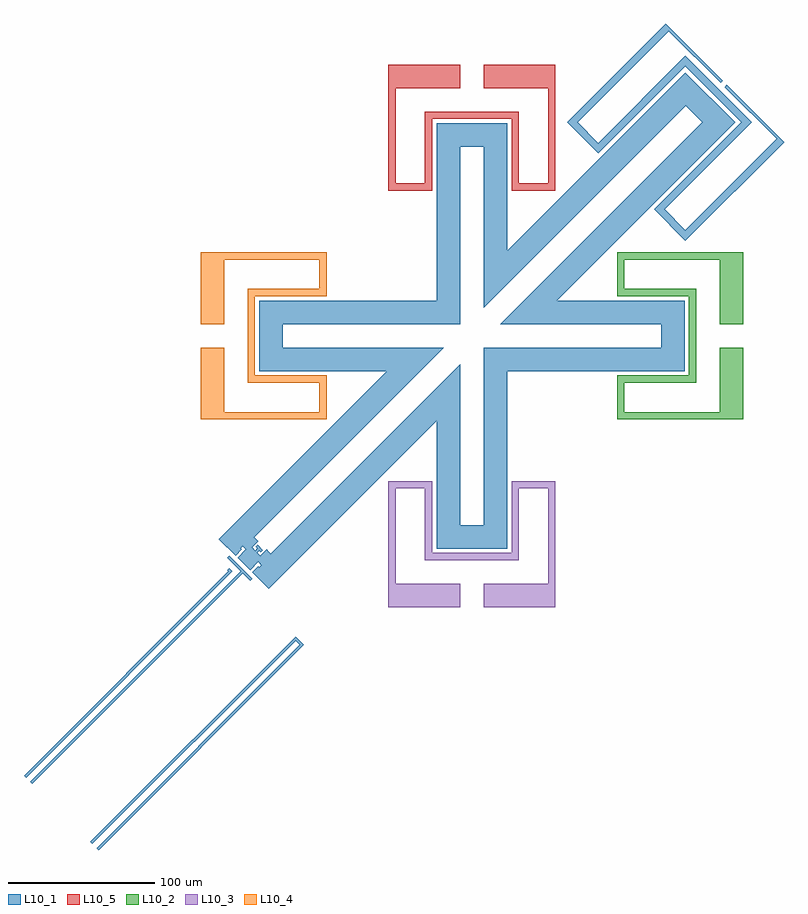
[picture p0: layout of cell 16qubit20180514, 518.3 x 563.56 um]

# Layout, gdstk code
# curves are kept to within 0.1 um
import gdstk
lib = gdstk.Library(unit=1e-6, precision=1e-09)
def P(c, l, *ps):  # polygons
    for p in ps: c.add(gdstk.Polygon(p, *l))
L10_1 = (10, 1)
L10_2 = (10, 2)
L10_3 = (10, 3)
L10_4 = (10, 4)
L10_5 = (10, 5)

c_16qubit20180514 = lib.new_cell('16qubit20180514')
P(c_16qubit20180514, L10_1, [(145.66,65.05),(124.447,86.263),(183.844,145.66),(145.66,183.844),(86.263,124.447),(65.05,145.66),(132.225,212.835),(171.116,173.944),(169.702,172.53),(134.347,207.885),(72.121,145.66),(86.263,131.518),(145.66,190.915),(190.915,145.66),(131.518,86.263),(145.66,72.121),(207.886,134.346),(172.53,169.702),(173.944,171.116),(212.835,132.225)],
  [(-254.554,-350.721),(-255.968,-349.307),(-117.375,-210.714),(-120.204,-207.886),(-258.796,-346.479),(-258.797,-346.479),(-260.21,-345.066),(-260.211,-345.063),(-120.205,-205.057),(-114.548,-210.715)],
  [(-299.81,-305.465),(-301.224,-304.051),(-157.682,-160.509),(-166.875,-151.316),(-165.461,-149.902),(-149.904,-165.459),(-151.318,-166.873),(-156.268,-161.923)],
  [(-304.052,-301.223),(-305.466,-299.809),(-166.167,-160.51),(-166.874,-159.803),(-165.459,-158.388),(-163.338,-160.509)],
  [(-138.589,-172.531),(-138.589,-147.074),(-137.175,-148.488),(-8,-19.314),(-8,-129.001),(8,-129.001),(8,-8.001),(129,-7.999),(129,8),(19.312,8.001),(156.973,145.661),(145.661,156.973),(8,19.314),(8,129),(-8,129),(-8,8.001),(-129,8),(-129,-8.001),(-19.314,-8.001),(-148.488,-137.175),(-145.661,-140.004),(-149.904,-144.247),(-147.783,-146.368),(-146.37,-144.953),(-147.428,-143.893),(-146.015,-142.48),(-142.479,-146.015),(-143.894,-147.429),(-144.953,-146.369),(-146.368,-147.784),(-144.247,-149.904),(-140.004,-145.659),(-138.589,-147.074),(-138.589,-172.531),(-149.904,-161.217),(-145.662,-156.975),(-144.955,-157.682),(-143.539,-156.266),(-145.661,-154.146),(-151.317,-159.803),(-159.803,-151.317),(-154.146,-145.659),(-156.266,-143.54),(-157.681,-144.955),(-156.974,-145.662),(-161.216,-149.904),(-172.531,-138.589),(-57.941,-24),(-145.002,-24),(-145.002,24),(-24,24),(-24,145),(24,145),(24,57.941),(145.66,179.601),(179.601,145.66),(57.941,24),(145,24),(145,-24),(24,-24),(24,-145),(-24,-145),(-24,-57.941)])
P(c_16qubit20180514, L10_2, [(99,-57),(99,-27),(148,-27),(148,27),(99,27),(99,57),(185,57),(185,8),(169,8),(169,52),(104,52),(104,32),(153,32),(153,-32),(104,-32),(104,-52),(169,-52),(169,-8),(185,-8),(185,-57)])
P(c_16qubit20180514, L10_3, [(-57,-185),(-57,-99),(-27,-99),(-27,-148),(27,-148),(27,-99),(57,-99),(57,-185),(8,-185),(8,-169),(52,-169),(52,-104),(32,-104),(32,-153),(-32,-153),(-32,-104),(-52,-104),(-52,-169),(-8,-169),(-8,-185)])
P(c_16qubit20180514, L10_4, [(-185,-57),(-185,-8),(-169,-8),(-169,-52),(-104,-52),(-104,-32),(-153,-32),(-153,32),(-104,32),(-104,52),(-169,52),(-169,8),(-185,8),(-185,57),(-99,57),(-99,27),(-148,27),(-148,-27),(-99,-27),(-99,-57)])
P(c_16qubit20180514, L10_5, [(-57.001,99),(-57.001,185),(-8.001,185),(-8.001,169),(-52.001,169),(-52.001,104),(-32.001,104),(-32.001,153),(31.999,153),(31.999,104),(51.999,104),(51.999,169),(7.999,169),(7.999,185),(56.999,185),(56.999,99),(26.999,99),(26.999,148),(-27.001,148),(-27.001,99)])

lib.write_gds('16qubit20180514.gds')
